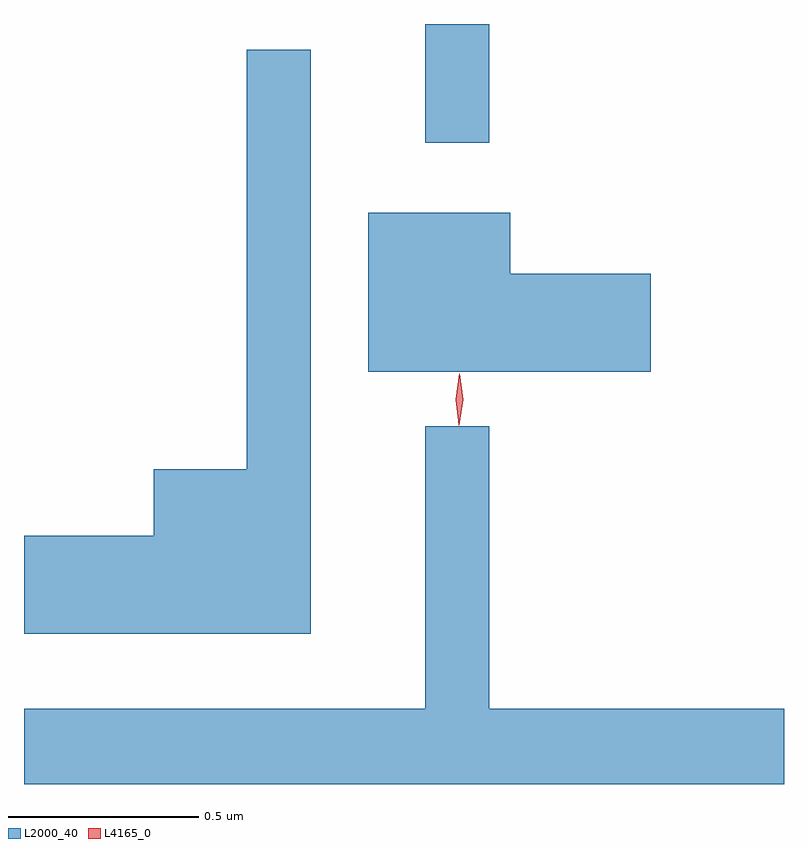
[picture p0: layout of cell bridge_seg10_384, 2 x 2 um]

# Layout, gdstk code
import gdstk
lib = gdstk.Library(unit=1e-6, precision=1e-09)
def R(c, l, rs):  # rectangles x0, y0, x1, y1
    for r in rs: c.add(gdstk.rectangle(r[:2], r[2:], *l))
def P(c, l, *ps):  # polygons
    for p in ps: c.add(gdstk.Polygon(p, *l))
L2000_40 = (2000, 40)
L4165_0 = (4165, 0)

bridge_seg10_384 = lib.new_cell('bridge_seg10_384')
R(bridge_seg10_384, L2000_40, [(1214.641,2151.193,1214.809,2151.506)])
P(bridge_seg10_384, L2000_40, [(1214.339,2151.438),(1214.171,2151.438),(1214.171,2150.334),(1213.926,2150.334),(1213.926,2150.159),(1213.585,2150.159),(1213.585,2149.901),(1214.339,2149.901)],
  [(1215.234,2150.849),(1214.864,2150.849),(1214.864,2151.009),(1214.491,2151.009),(1214.491,2150.591),(1215.234,2150.591)],
  [(1215.585,2149.704),(1214.809,2149.704),(1214.809,2150.448),(1214.641,2150.448),(1214.641,2149.704),(1213.585,2149.704),(1213.585,2149.506),(1215.585,2149.506)])
P(bridge_seg10_384, L4165_0, [(1214.729,2150.45),(1214.721,2150.518),(1214.731,2150.586),(1214.732,2150.586),(1214.732,2150.586),(1214.741,2150.518),(1214.73,2150.45),(1214.73,2150.45)],
  [(1214.73,2150.453),(1214.729,2150.454),(1214.721,2150.516),(1214.731,2150.579),(1214.732,2150.58),(1214.732,2150.579),(1214.741,2150.516),(1214.73,2150.454)])

lib.write_gds('bridge_seg10_384.gds')
